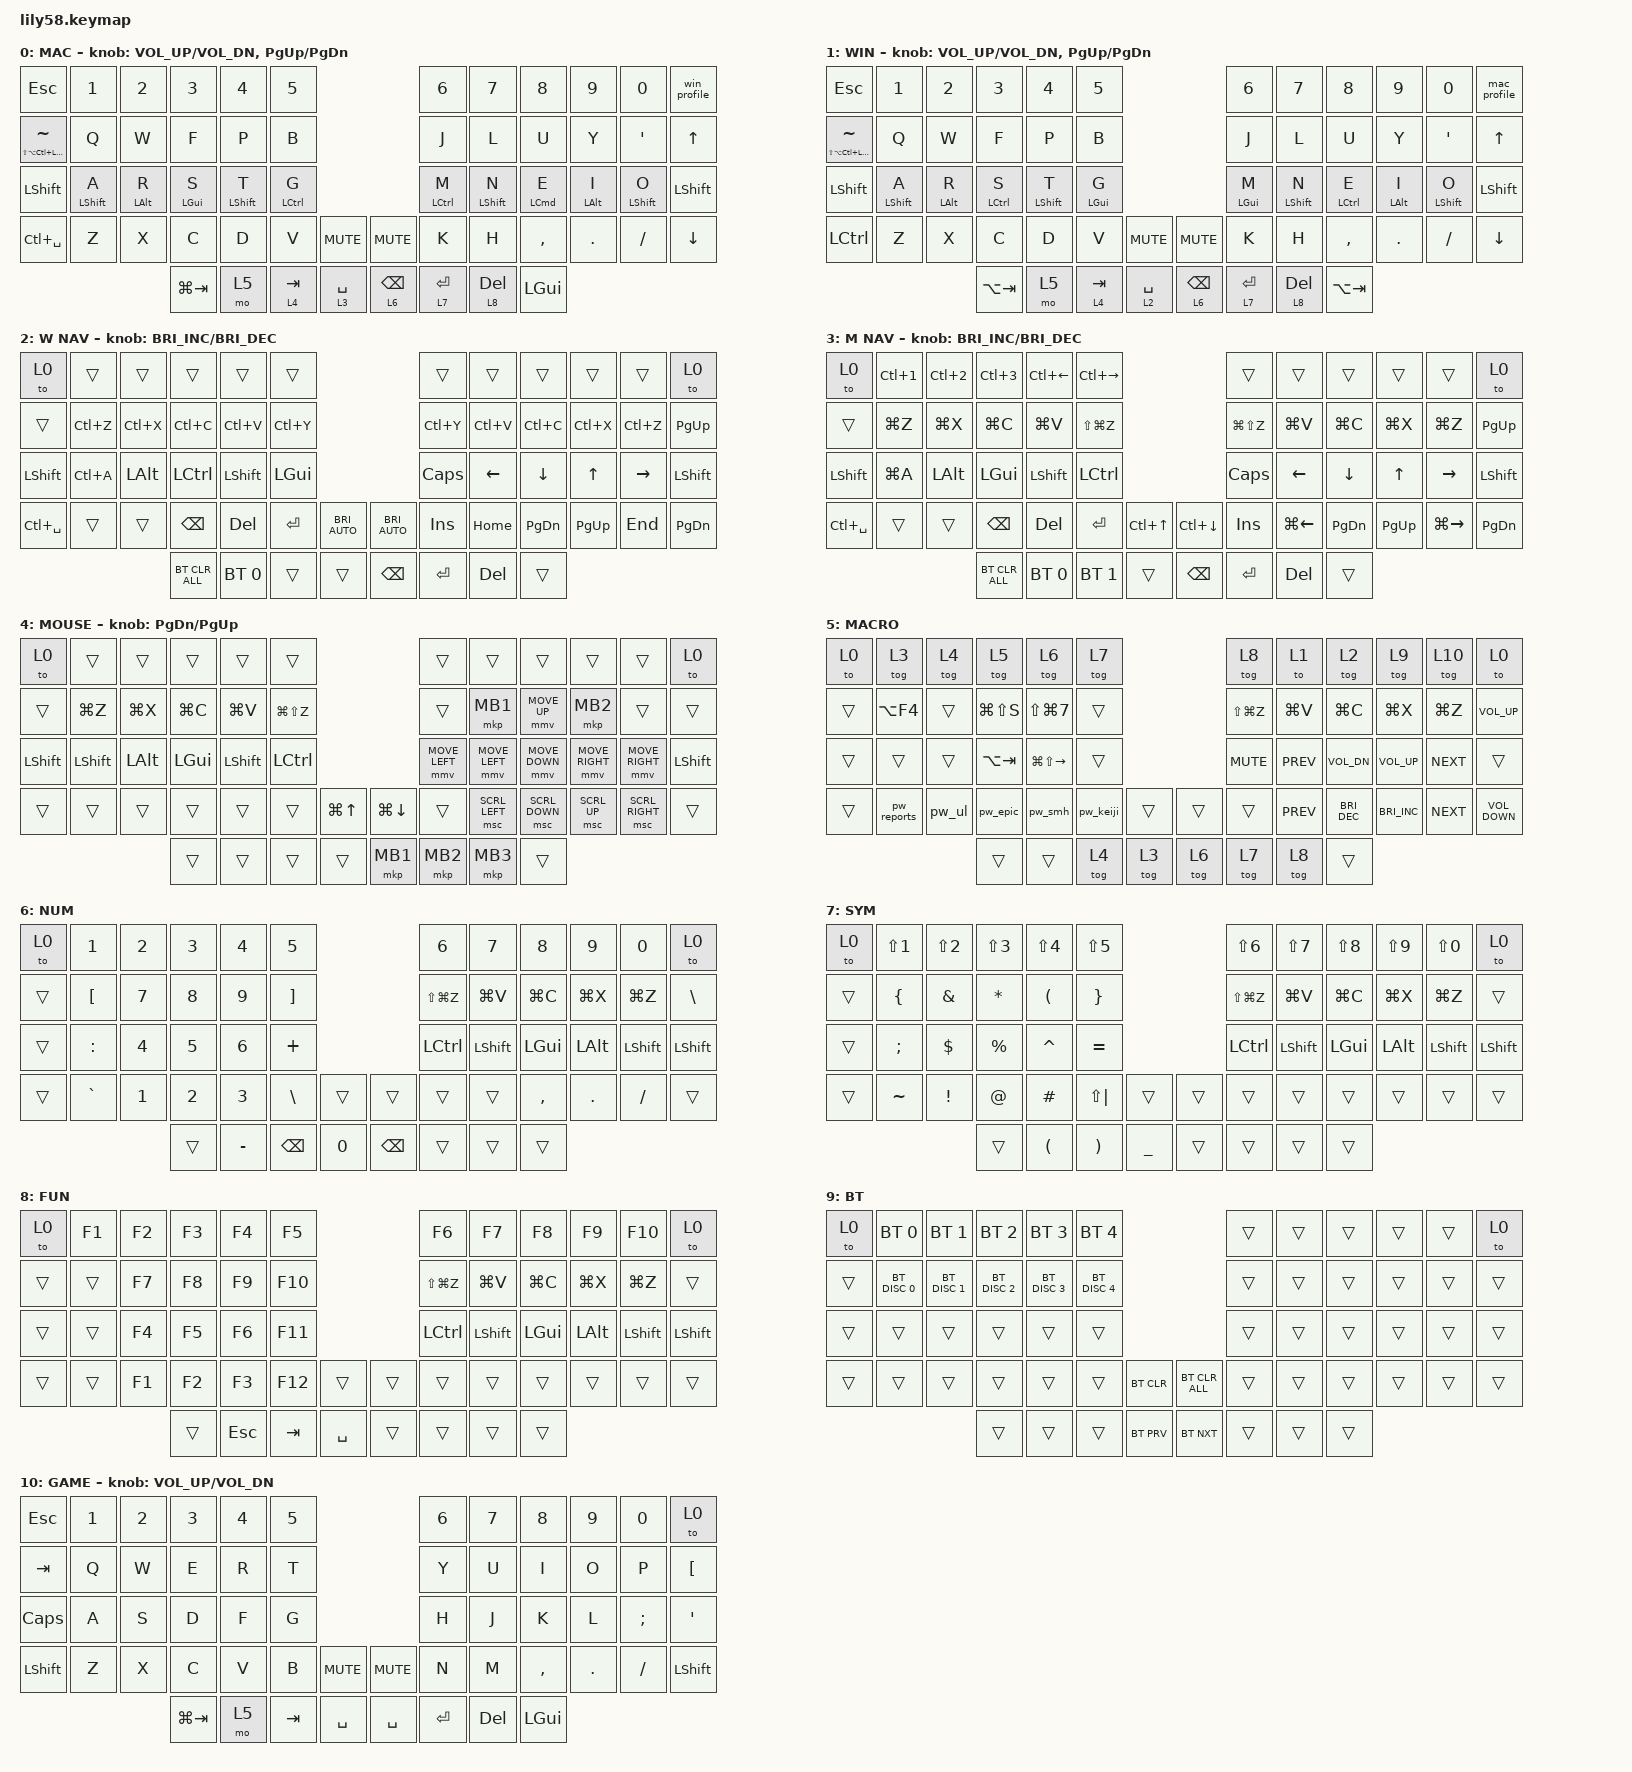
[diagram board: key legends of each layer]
/*
 * Copyright (c) 2020 The ZMK Contributors
 *
 * SPDX-License-Identifier: MIT
 */

#include <behaviors.dtsi>
#include <dt-bindings/zmk/bt.h>
#include <dt-bindings/zmk/keys.h>
#include <dt-bindings/zmk/pointing.h>

&msc {
    time-to-max-speed-ms = <50>;
    acceleration-exponent = <0>;
};

&mmv { time-to-max-speed-ms = <220>; };

/ {
    behaviors {
        hrm: hrm {
            compatible = "zmk,behavior-hold-tap";
            label = "HRM";
            bindings = <&kp>, <&kp>;

            #binding-cells = <2>;
            flavor = "balanced";
            tapping-term-ms = <280>;
            require-prior-idle-ms = <150>;
            quick-tap-ms = <175>;
            hold-trigger-on-release;
        };
    };

    macros {
        /* ✅ New OS switching macros */

        mac_profile: mac_profile {
            compatible = "zmk,behavior-macro";
            label = "MAC_PROFILE";
            #binding-cells = <0>;
            bindings = <&bt BT_SEL 0 &to 0>;
        };

        win_profile: win_profile {
            compatible = "zmk,behavior-macro";
            label = "WIN_PROFILE";
            #binding-cells = <0>;
            bindings = <&bt BT_SEL 1 &to 1>;
        };

        pw_smh: pw_smh {
            compatible = "zmk,behavior-macro";
            #binding-cells = <0>;
            bindings = <&kp N1 &kp LS(H) &kp E &kp M &kp O &kp D &kp I &kp A &kp L &kp Y &kp S &kp I &kp S &kp RPAR &kp RET>;
            label = "PW_SMH";
            tap-ms = <10>;
        };

        pw_epic: pw_epic {
            compatible = "zmk,behavior-macro";
            #binding-cells = <0>;
            bindings =
                <&kp H &kp A &kp Y &kp A &kp S &kp H &kp I &kp K &kp TAB &kp N1 &kp LS(H) &kp E &kp M &kp O &kp D &kp I &kp A &kp L &kp Y &kp S &kp I &kp S &kp RPAR &kp RET>,
                <&macro_wait_time 800>,
                <&kp ENTER>,
                <&macro_wait_time 1000>,
                <&kp ENTER>;

            label = "PW_EPIC";
            tap-ms = <10>;
        };

        pw_keiji: pw_keiji {
            compatible = "zmk,behavior-macro";
            #binding-cells = <0>;
            bindings = <&kp LS(H) &kp K &kp E &kp A &kp S &kp N &kp A &kp L &kp U &kp M &kp I &kp AT &kp N3 &kp N1 &kp N2>;
            label = "PW_KEIJI";
        };

        pw_ul: pw_ul {
            compatible = "zmk,behavior-macro";
            #binding-cells = <0>;
            bindings = <&kp LS(I) &kp S &kp A &kp I &kp D &kp S &kp T &kp O &kp P &kp N8>;
            label = "PW_UL";
            tap-ms = <10>;
        };

        pw_reports: pw_reports {
            compatible = "zmk,behavior-macro";
            #binding-cells = <0>;
            bindings = <&kp LS(H) &kp E &kp M &kp O &kp D &kp I &kp A &kp L &kp Y &kp S &kp I &kp S &kp N1 &kp EXCL>;
            label = "PW_REPORTS";
        };
    };

    keymap {
        compatible = "zmk,keymap";

        default_layer {
            // ------------------------------------------------------------------------------------------------------------
            // |  ESC  |  1  |  2  |  3   |  4   |  5   |                   |  6   |  7    |  8    |  9   |   0   |   `   |
            // |  TAB  |  Q  |  W  |  E   |  R   |  T   |                   |  Y   |  U    |  I    |  O   |   P   |   -   |
            // |  CTRL |  A  |  S  |  D   |  F   |  G   |                   |  H   |  J    |  K    |  L   |   ;   |   '   |
            // | SHIFT |  Z  |  X  |  C   |  V   |  B   |   "["  |  |  "]"  |  N   |  M    |  ,    |  .   |   /   | SHIFT |
            //                     | ALT  | GUI  | LOWER|  SPACE |  | ENTER | RAISE| BSPC  | GUI   |

            display-name = "MAC";
            bindings = <
&kp ESC                         &kp N1        &kp N2       &kp N3       &kp N4        &kp N5                                        &kp N6        &kp N7        &kp N8        &kp N9           &kp N0        &win_profile
&mt LS(LA(LC(LEFT_GUI))) TILDE  &kp Q         &kp W        &kp F        &kp P         &kp B                                         &kp J         &kp L         &kp U         &kp Y            &kp SQT       &kp UP
&kp LEFT_SHIFT                  &hrm LSHFT A  &hrm LALT R  &hrm LGUI S  &hrm LSHFT T  &hrm LCTRL G                                  &hrm LCTRL M  &hrm LSHFT N  &hrm LCMD E   &hrm LEFT_ALT I  &hrm LSHFT O  &kp LSHFT
&kp LC(SPACE)                   &kp Z         &kp X        &kp C        &kp D         &kp V         &kp C_MUTE     &kp C_MUTE       &kp K         &kp H         &kp COMMA     &kp DOT          &kp FSLH      &kp DOWN
                                                           &kp LG(TAB)  &mo 5         &lt 4 TAB     &lt 3 SPACE    &lt 6 BACKSPACE  &lt 7 ENTER   &lt 8 DELETE  &kp LEFT_GUI
            >;

            // sensor-bindings = <&inc_dec_kp C_VOL_UP C_VOL_DN>;

            sensor-bindings =
                <&inc_dec_kp C_VOL_UP C_VOL_DN>,
                <&inc_dec_kp PG_UP PG_DN>;

            label = "MAC";
        };

        windows_layer {
            display-name = "WIN";
            bindings = <
&kp ESC                         &kp N1        &kp N2       &kp N3        &kp N4        &kp N5                                           &kp N6           &kp N7        &kp N8        &kp N9           &kp N0        &mac_profile
&mt LS(LA(LC(LEFT_GUI))) TILDE  &kp Q         &kp W        &kp F         &kp P         &kp B                                            &kp J            &kp L         &kp U         &kp Y            &kp SQT       &kp UP
&kp LSHFT                       &hrm LSHFT A  &hrm LALT R  &hrm LCTRL S  &hrm LSHFT T  &hrm LEFT_GUI G                                  &hrm LEFT_GUI M  &hrm LSHFT N  &hrm LCTRL E  &hrm LEFT_ALT I  &hrm LSHFT O  &kp LSHFT
&kp LCTRL                       &kp Z         &kp X        &kp C         &kp D         &kp V            &kp C_MUTE     &kp C_MUTE       &kp K            &kp H         &kp COMMA     &kp DOT          &kp FSLH      &kp DOWN
                                                           &kp LA(TAB)   &mo 5         &lt 4 TAB        &lt 2 SPACE    &lt 6 BACKSPACE  &lt 7 ENTER      &lt 8 DELETE  &kp LA(TAB)
            >;

            sensor-bindings =
                <&inc_dec_kp C_VOL_UP C_VOL_DN>,
                <&inc_dec_kp PG_UP PG_DN>;

            label = "WIN";
        };

        win_nav_layer {
            label = "W NAV";
            bindings = <
&to 0          &trans     &trans     &trans          &trans        &trans                                                        &trans      &trans     &trans         &trans       &trans     &to 0
&trans         &kp LC(Z)  &kp LC(X)  &kp LC(C)       &kp LC(V)     &kp LC(Y)                                                     &kp LC(Y)   &kp LC(V)  &kp LC(C)      &kp LC(X)    &kp LC(Z)  &kp PAGE_UP
&kp LSHFT      &kp LC(A)  &kp LALT   &kp LCTRL       &kp LSHFT     &kp LEFT_GUI                                                  &kp CAPS    &kp LEFT   &kp DOWN       &kp UP       &kp RIGHT  &kp LSHFT
&kp LC(SPACE)  &trans     &trans     &kp BSPC        &kp DEL       &kp RET       &kp C_BRIGHTNESS_AUTO    &kp C_BRIGHTNESS_AUTO  &kp INSERT  &kp HOME   &kp PAGE_DOWN  &kp PAGE_UP  &kp END    &kp PAGE_DOWN
                                     &bt BT_CLR_ALL  &bt BT_SEL 0  &trans        &trans                   &kp BSPC               &kp RET     &kp DEL    &trans
            >;

            sensor-bindings = <&inc_dec_kp C_BRIGHTNESS_INC C_BRIGHTNESS_DEC>;
        };

        mac_nav_layer {
            bindings = <
&to 0          &kp LC(N1)  &kp LC(N2)  &kp LC(N3)      &kp LC(LEFT)  &kp LC(RIGHT)                              &trans         &trans        &trans         &trans       &trans         &to 0
&trans         &kp LG(Z)   &kp LG(X)   &kp LG(C)       &kp LG(V)     &kp LS(LG(Z))                              &kp LG(LS(Z))  &kp LG(V)     &kp LG(C)      &kp LG(X)    &kp LG(Z)      &kp PAGE_UP
&kp LSHFT      &kp LG(A)   &kp LALT    &kp LEFT_GUI    &kp LSHFT     &kp LCTRL                                  &kp CAPS       &kp LEFT      &kp DOWN       &kp UP       &kp RIGHT      &kp LSHFT
&kp LC(SPACE)  &trans      &trans      &kp BSPC        &kp DEL       &kp RET        &kp LC(UP)    &kp LC(DOWN)  &kp INSERT     &kp LG(LEFT)  &kp PAGE_DOWN  &kp PAGE_UP  &kp LG(RIGHT)  &kp PAGE_DOWN
                                       &bt BT_CLR_ALL  &bt BT_SEL 0  &bt BT_SEL 1   &trans        &kp BSPC      &kp RET        &kp DEL       &trans
            >;

            sensor-bindings = <&inc_dec_kp C_BRIGHTNESS_INC C_BRIGHTNESS_DEC>;
            label = "M NAV";
        };

        mouse_layer {
            bindings = <
&to 0      &trans     &trans     &trans     &trans     &trans                                     &trans          &trans          &trans          &trans           &trans           &to 0
&trans     &kp LG(Z)  &kp LG(X)  &kp LG(C)  &kp LG(V)  &kp LG(LS(Z))                              &trans          &mkp MB1        &mmv MOVE_UP    &mkp MB2         &trans           &trans
&kp LSHFT  &kp LSHFT  &kp LALT   &kp LGUI   &kp LSHFT  &kp LCTRL                                  &mmv MOVE_LEFT  &mmv MOVE_LEFT  &mmv MOVE_DOWN  &mmv MOVE_RIGHT  &mmv MOVE_RIGHT  &kp LSHFT
&trans     &trans     &trans     &trans     &trans     &trans         &kp LG(UP)    &kp LG(DOWN)  &trans          &msc SCRL_LEFT  &msc SCRL_DOWN  &msc SCRL_UP     &msc SCRL_RIGHT  &trans
                                 &trans     &trans     &trans         &trans        &mkp MB1      &mkp MB2        &mkp MB3        &trans
            >;

            label = "MOUSE";
            sensor-bindings = <&inc_dec_kp PAGE_DOWN PAGE_UP>;
        };

        macro_layer {
            bindings = <
&to 0   &tog 3       &tog 4  &tog 5         &tog 6             &tog 7                       &tog 8         &to 1       &tog 2                &tog 9                &tog 10     &to 0
&trans  &kp LA(F4)   &trans  &kp LG(LS(S))  &kp LS(LG(N7))     &trans                       &kp LS(LG(Z))  &kp LG(V)   &kp LG(C)             &kp LG(X)             &kp LG(Z)   &kp C_VOLUME_UP
&trans  &trans       &trans  &kp LA(TAB)    &kp LG(LS(RIGHT))  &trans                       &kp C_MUTE     &kp C_PREV  &kp C_VOL_DN          &kp C_VOL_UP          &kp C_NEXT  &trans
&trans  &pw_reports  &pw_ul  &pw_epic       &pw_smh            &pw_keiji  &trans    &trans  &trans         &kp K_PREV  &kp C_BRIGHTNESS_DEC  &kp C_BRIGHTNESS_INC  &kp K_NEXT  &kp C_VOLUME_DOWN
                             &trans         &trans             &tog 4     &tog 3    &tog 6  &tog 7         &tog 8      &trans
            >;

            label = "MACRO";
        };

        num_layer {
            bindings = <
&to 0   &kp N1     &kp N2  &kp N3  &kp N4     &kp N5                        &kp N6         &kp N7     &kp N8     &kp N9     &kp N0     &to 0
&trans  &kp LBKT   &kp N7  &kp N8  &kp N9     &kp RBKT                      &kp LS(LG(Z))  &kp LG(V)  &kp LG(C)  &kp LG(X)  &kp LG(Z)  &kp BSLH
&trans  &kp COLON  &kp N4  &kp N5  &kp N6     &kp PLUS                      &kp LCTRL      &kp LSHFT  &kp LGUI   &kp LALT   &kp LSHFT  &kp LSHFT
&trans  &kp GRAVE  &kp N1  &kp N2  &kp N3     &kp BSLH  &trans    &trans    &trans         &trans     &kp COMMA  &kp DOT    &kp FSLH   &trans
                           &trans  &kp MINUS  &kp BSPC  &kp N0    &kp BSPC  &trans         &trans     &trans
            >;

            label = "NUM";
        };

        sym_layer {
            bindings = <
&to 0   &kp LS(N1)      &kp LS(N2)       &kp LS(N3)    &kp LS(N4)  &kp LS(N5)                            &kp LS(N6)     &kp LS(N7)  &kp LS(N8)  &kp LS(N9)  &kp LS(N0)  &to 0
&trans  &kp LEFT_BRACE  &kp AMPERSAND    &kp ASTERISK  &kp LPAR    &kp RIGHT_BRACE                       &kp LS(LG(Z))  &kp LG(V)   &kp LG(C)   &kp LG(X)   &kp LG(Z)   &trans
&trans  &kp SEMI        &kp DOLLAR       &kp PERCENT   &kp CARET   &kp EQUAL                             &kp LCTRL      &kp LSHFT   &kp LGUI    &kp LALT    &kp LSHFT   &kp LSHFT
&trans  &kp TILDE       &kp EXCLAMATION  &kp AT_SIGN   &kp HASH    &kp LS(PIPE)     &trans       &trans  &trans         &trans      &trans      &trans      &trans      &trans
                                         &trans        &kp LPAR    &kp RPAR         &kp UNDER    &trans  &trans         &trans      &trans
            >;

            label = "SYM";
        };

        fun_layer {
            bindings = <
&to 0   &kp F1  &kp F2  &kp F3  &kp F4   &kp F5                        &kp F6         &kp F7     &kp F8     &kp F9     &kp F10    &to 0
&trans  &trans  &kp F7  &kp F8  &kp F9   &kp F10                       &kp LS(LG(Z))  &kp LG(V)  &kp LG(C)  &kp LG(X)  &kp LG(Z)  &trans
&trans  &trans  &kp F4  &kp F5  &kp F6   &kp F11                       &kp LCTRL      &kp LSHFT  &kp LGUI   &kp LALT   &kp LSHFT  &kp LSHFT
&trans  &trans  &kp F1  &kp F2  &kp F3   &kp F12  &trans       &trans  &trans         &trans     &trans     &trans     &trans     &trans
                        &trans  &kp ESC  &kp TAB  &kp SPACE    &trans  &trans         &trans     &trans
            >;

            label = "FUN";
        };

        bt_layer {
            // ------------------------------------------------------------------------------------------------------------
            // | BTCLR | BT1 | BT2 |  BT3 |  BT4 |  BT5 |                   |      |       |       |      |       |       |
            // |  F1   |  F2 |  F3 |  F4  |  F5  |  F6  |                   |  F7  |  F8   |  F9   |  F10 |  F11  |  F12  |
            // |   `   |  !  |  @  |  #   |  $   |  %   |                   |  ^   |  &    |  *    |  (   |   )   |   ~   |
            // |       |     |     |      |      |      |        |  |       |      |  _    |  +    |  {   |   }   |  "|"  |
            //                     |      |      |      |        |  |       |      |       |       |

            display-name = "BT";
            bindings = <
&to 0   &bt BT_SEL 0   &bt BT_SEL 1   &bt BT_SEL 2   &bt BT_SEL 3   &bt BT_SEL 4                                 &trans  &trans  &trans  &trans  &trans  &to 0
&trans  &bt BT_DISC 0  &bt BT_DISC 1  &bt BT_DISC 2  &bt BT_DISC 3  &bt BT_DISC 4                                &trans  &trans  &trans  &trans  &trans  &trans
&trans  &trans         &trans         &trans         &trans         &trans                                       &trans  &trans  &trans  &trans  &trans  &trans
&trans  &trans         &trans         &trans         &trans         &trans         &bt BT_CLR    &bt BT_CLR_ALL  &trans  &trans  &trans  &trans  &trans  &trans
                                      &trans         &trans         &trans         &bt BT_PRV    &bt BT_NXT      &trans  &trans  &trans
            >;

            label = "BT";
        };

        game_layer {
            bindings = <
&kp ESC    &kp N1  &kp N2  &kp N3       &kp N4  &kp N5                             &kp N6   &kp N7   &kp N8        &kp N9   &kp N0    &to 0
&kp TAB    &kp Q   &kp W   &kp E        &kp R   &kp T                              &kp Y    &kp U    &kp I         &kp O    &kp P     &kp LBKT
&kp CAPS   &kp A   &kp S   &kp D        &kp F   &kp G                              &kp H    &kp J    &kp K         &kp L    &kp SEMI  &kp SQT
&kp LSHFT  &kp Z   &kp X   &kp C        &kp V   &kp B    &kp C_MUTE    &kp C_MUTE  &kp N    &kp M    &kp COMMA     &kp DOT  &kp FSLH  &kp LSHFT
                           &kp LG(TAB)  &mo 5   &kp TAB  &kp SPACE     &kp SPACE   &kp RET  &kp DEL  &kp LEFT_GUI
            >;

            label = "GAME";
            sensor-bindings = <&inc_dec_kp C_VOLUME_UP C_VOL_DN>;
        };
    };
};
